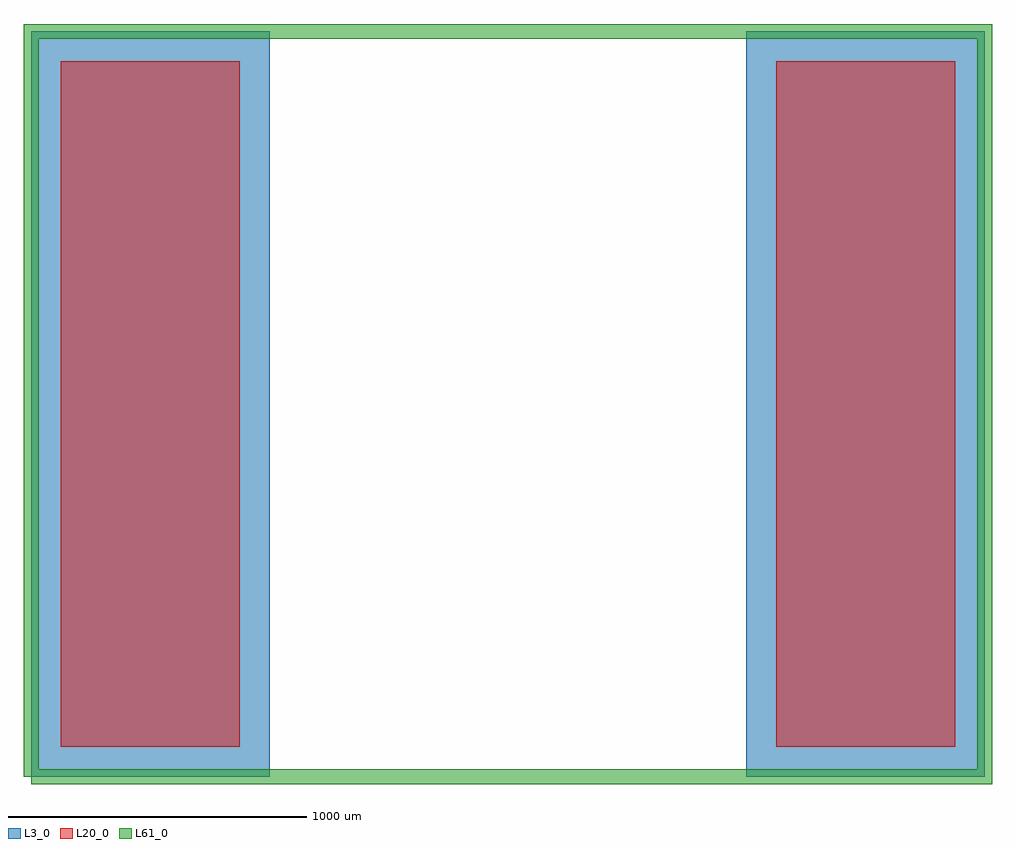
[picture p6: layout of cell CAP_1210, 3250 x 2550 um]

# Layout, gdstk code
import gdstk
lib = gdstk.Library(unit=1e-6, precision=1e-09)
def R(c, l, rs):  # rectangles x0, y0, x1, y1
    for r in rs: c.add(gdstk.rectangle(r[:2], r[2:], *l))
L3_0 = (3, 0)
L20_0 = (20, 0)
L61_0 = (61, 0)

cap_1210 = lib.new_cell('CAP_1210')
R(cap_1210, L3_0, [(0,0,800,2500), (2400,0,3200,2500)])
R(cap_1210, L20_0, [(100,100,700,2400), (2500,100,3100,2400)])
cap_1210.add(gdstk.FlexPath([(0,0),(3200,0),(3200,2500),(0,2500),(0,0)], 50, ends="flush", simple_path=True, layer=61, datatype=0))  # L61_0

lib.write_gds('CAP_1210.gds')
